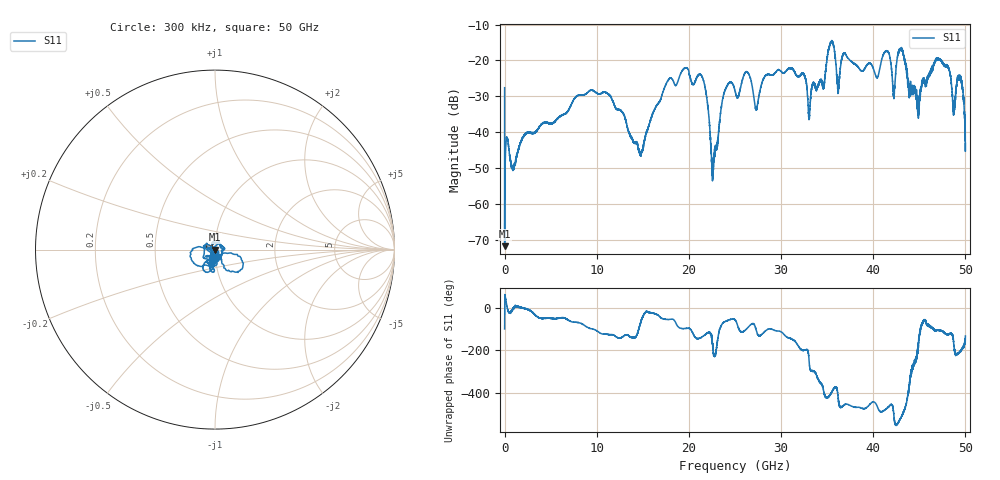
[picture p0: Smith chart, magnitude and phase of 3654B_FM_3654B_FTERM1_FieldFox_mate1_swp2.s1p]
!Created with skrf (http://scikit-rf.org).
# Hz S RI R 50.0
!freq ReS11 ImS11
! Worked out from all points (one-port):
!   10001 points, 300 kHz to 50 GHz, reference 50 ohm
!   lowest |S11| = -71.8 dB at 5.3 MHz (marker M1), VSWR 1.00, Z = 50 - j0.0255 ohm
!   |S11| at or under -10 dB: start of sweep to end of sweep
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300000  -0.00628 -0.0411
5299970  -1.01e-05 -0.000255
9.302944e8  0.00314 5.41e-05
6.250262e9  0.012 -0.0124
9.405244e9  -0.0052 -0.0383
1.250022e10  -0.0159 -0.0127
1.478521e10  0.00194 -0.00439
1.875019e10  0.00501 -0.0484
2.143517e10  -0.0421 -0.0406
2.264016e10  -0.00293 0.00124
2.387516e10  0.0156 -0.0338
2.500015e10  0.0212 -0.0307
2.633514e10  -0.00618 -0.0687
2.732514e10  -0.00686 -0.0197
3.125011e10  -0.0646 -0.0397
3.30651e10  -0.00224 0.0158
3.541509e10  0.1384 -0.1177
3.619008e10  0.0184 -0.0332
3.750008e10  -0.0146 -0.0983
4.149005e10  -0.05 -0.1263
4.223005e10  -0.023 -0.0223
4.299004e10  -0.1325 -0.0533
4.375004e10  0.0322 -0.0417
4.486503e10  -0.0213 0.0035
4.727002e10  -0.03 -0.0984
4.874501e10  -0.0195 0.000327
4.945e10  -0.0497 0.0254
5e10  -0.00463 -0.00514
